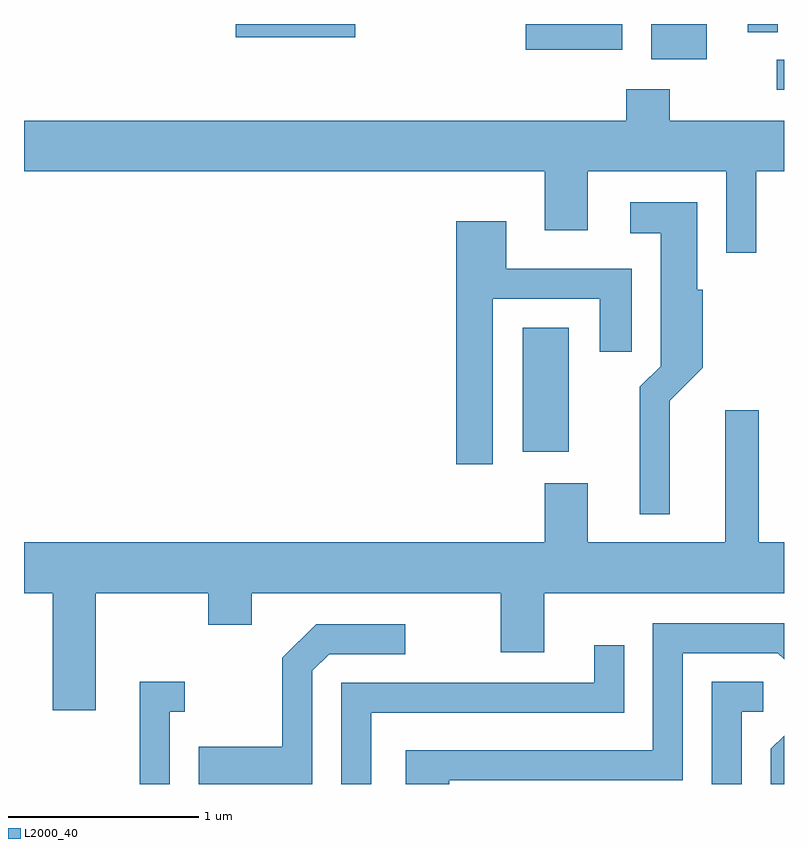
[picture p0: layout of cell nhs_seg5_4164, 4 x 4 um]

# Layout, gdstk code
import gdstk
lib = gdstk.Library(unit=1e-6, precision=1e-09)
def R(c, l, rs):  # rectangles x0, y0, x1, y1
    for r in rs: c.add(gdstk.rectangle(r[:2], r[2:], *l))
def P(c, l, *ps):  # polygons
    for p in ps: c.add(gdstk.Polygon(p, *l))
L2000_40 = (2000, 40)

nhs_seg5_4164 = lib.new_cell('nhs_seg5_4164')
R(nhs_seg5_4164, L2000_40, [(312.236,1399.821,312.479,1400.474), (313.573,1401.726,313.611,1401.884), (312.911,1401.886,313.204,1402.072), (312.253,1401.936,312.759,1402.072), (310.726,1402.001,311.354,1402.072), (313.421,1402.028,313.579,1402.072)])
P(nhs_seg5_4164, L2000_40, [(313.464,1401.296),(313.611,1401.296),(313.611,1401.564),(313.009,1401.564),(313.009,1401.729),(312.781,1401.729),(312.781,1401.564),(309.611,1401.564),(309.611,1401.296),(312.351,1401.296),(312.351,1400.986),(312.579,1400.986),(312.579,1401.296),(313.306,1401.296),(313.306,1400.868),(313.464,1400.868)],
  [(313.009,1400.089),(313.184,1400.264),(313.184,1400.674),(313.154,1400.674),(313.154,1401.134),(312.803,1401.134),(312.803,1400.971),(312.961,1400.971),(312.961,1400.272),(312.851,1400.162),(312.851,1399.493),(313.009,1399.493)],
  [(312.079,1400.626),(312.641,1400.626),(312.641,1400.348),(312.809,1400.348),(312.809,1400.784),(312.149,1400.784),(312.149,1401.034),(311.886,1401.034),(311.886,1399.756),(312.079,1399.756)],
  [(309.989,1399.076),(310.581,1399.076),(310.581,1398.911),(310.809,1398.911),(310.809,1399.076),(312.121,1399.076),(312.121,1398.766),(312.349,1398.766),(312.349,1399.076),(313.611,1399.076),(313.611,1399.344),(313.479,1399.344),(313.479,1400.039),(313.301,1400.039),(313.301,1399.344),(312.579,1399.344),(312.579,1399.654),(312.351,1399.654),(312.351,1399.344),(309.611,1399.344),(309.611,1399.076),(309.761,1399.076),(309.761,1398.461),(309.989,1398.461)],
  [(311.849,1398.091),(313.079,1398.091),(313.079,1398.761),(313.579,1398.761),(313.611,1398.729),(313.611,1398.919),(312.921,1398.919),(312.921,1398.249),(311.621,1398.249),(311.621,1398.072),(311.849,1398.072)],
  [(311.129,1398.669),(311.217,1398.756),(311.618,1398.756),(311.618,1398.914),(311.149,1398.914),(310.971,1398.737),(310.971,1398.269),(310.531,1398.269),(310.531,1398.072),(311.129,1398.072)],
  [(311.439,1398.446),(312.769,1398.446),(312.769,1398.803),(312.611,1398.803),(312.611,1398.604),(311.281,1398.604),(311.281,1398.072),(311.439,1398.072)],
  [(310.379,1398.451),(310.458,1398.451),(310.458,1398.609),(310.221,1398.609),(310.221,1398.072),(310.379,1398.072)],
  [(313.389,1398.451),(313.503,1398.451),(313.503,1398.609),(313.231,1398.609),(313.231,1398.072),(313.389,1398.072)],
  [(313.611,1398.327),(313.541,1398.257),(313.541,1398.072),(313.611,1398.072)])

lib.write_gds('nhs_seg5_4164.gds')
